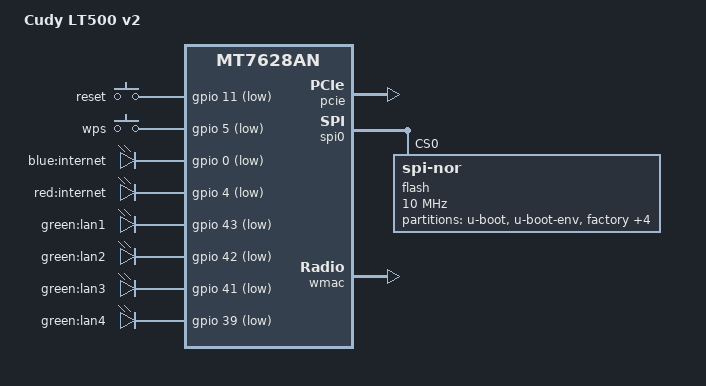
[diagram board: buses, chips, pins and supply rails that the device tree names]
// SPDX-License-Identifier: GPL-2.0-or-later OR MIT

#include "mt7628an.dtsi"

#include <dt-bindings/gpio/gpio.h>
#include <dt-bindings/input/input.h>

/ {
	compatible = "cudy,lt500-v2", "mediatek,mt7628an-soc";
	model = "Cudy LT500 v2";

	aliases {
		led-boot = &led_internet_blue;
		led-failsafe = &led_internet_blue;
		led-running = &led_internet_blue;
		led-upgrade = &led_internet_blue;
		label-mac-device = &gmac0;
	};

	chosen {
		bootargs = "console=ttyS0,115200";
	};

	keys {
		compatible = "gpio-keys";

		// TODO shoo?
		#address-cells = <1>;
		#size-cells = <0>;

		reset {
			label = "reset";
			gpios = <&gpio 11 GPIO_ACTIVE_LOW>;
			linux,code = <KEY_RESTART>;
		};

		wps {
			label = "wps";
			gpios = <&gpio 5 GPIO_ACTIVE_LOW>;
			linux,code = <KEY_WPS_BUTTON>;
		};
	};

	leds {
		compatible = "gpio-leds";

		led_internet_blue: internet_blue {
			label = "blue:internet";
			gpios = <&gpio 0 GPIO_ACTIVE_LOW>;
		};

		internet_red {
			label = "red:internet";
			gpios = <&gpio 4 GPIO_ACTIVE_LOW>;
		};

		lan1 {
			label = "green:lan1";
			gpios = <&gpio 43 GPIO_ACTIVE_LOW>;
		};

		lan2 {
			label = "green:lan2";
			gpios = <&gpio 42 GPIO_ACTIVE_LOW>;
		};

		lan3 {
			label = "green:lan3";
			gpios = <&gpio 41 GPIO_ACTIVE_LOW>;
		};

		lan4 {
			label = "green:lan4";
			gpios = <&gpio 39 GPIO_ACTIVE_LOW>;
		};
	};

	// TODO hog these? which values? what are they used for?
	// gpio_export {
	// 	compatible = "gpio-export";
	// 	#size-cells = <0>;
	// 
	// 	pwr {
	// 		gpio-export,name = "pwr";
	// 		gpio-export,output = <0>;
	// 		gpios = <&gpio 38 GPIO_ACTIVE_HIGH>;
	// 	};
	// 
	// 	usb4g {
	// 		gpio-export,name = "4g";
	// 		gpio-export,output = <0>;
	// 		gpios = <&gpio 3 GPIO_ACTIVE_HIGH>;
	// 	};
	// };

	// TODO shoo
	//memory@0 {
	//	device_type = "memory";
	//	reg = <0x0 0x8000000>;
	//};
};

&bdinfo {
	compatible = "nvmem-cells";
	#address-cells = <1>;
	#size-cells = <1>;

	macaddr_bdinfo_de00: macaddr@de00 {
		reg = <0xde00 0x6>;
	};
};

&ethernet {
  nvmem-cells = <&macaddr_bdinfo_de00>;
  nvmem-cell-names = "mac-address";
};

&esw {
	// TODO cudy uses llllwl. 3 lan/1 wan according to sales doc
	mediatek,portmap = <0x2f>;
};

&pcie {
	status = "okay";
};

// TODO pcie nodes

&spi0 {
	status = "okay";

	flash@0 {
		compatible = "jedec,spi-nor";
		reg = <0>;
		spi-max-frequency = <10000000>;
		// TODO try
		//spi-max-frequency = <50000000>;
		//m25p,fast-read;

		partitions {
			compatible = "fixed-partitions";
			#address-cells = <1>;
			#size-cells = <1>;

			partition@0 {
				label = "u-boot";
				reg = <0x0 0x30000>;
				read-only;
			};

			partition@30000 {
				label = "u-boot-env";
				reg = <0x30000 0x10000>;
				read-only;
			};

			factory: partition@40000 {
				label = "factory";
				reg = <0x40000 0x10000>;
				read-only;
			};

			partition@50000 {
				compatible = "denx,uimage";
				label = "firmware";
				reg = <0x50000 0xf80000>;
			};

			partition@fd0000 {
				label = "debug";
				reg = <0xfd0000 0x10000>;
				read-only;
			};

			partition@fe0000 {
				label = "backup";
				reg = <0xfe0000 0x10000>;
				read-only;
			};

			bdinfo: partition@ff0000 {
				label = "bdinfo";
				reg = <0xff0000 0x10000>;
				read-only;
			};
		};
	};
};

&state_default {
	gpio {
		ralink,group = "gpio", "i2c", "i2s", "p0led_an", "p1led_an", "p2led_an", "p4led_an";
		ralink,function = "gpio";
	};
};

&wmac {
	status = "okay";

	mediatek,mtd-eeprom = <&factory 0x0>;
};
